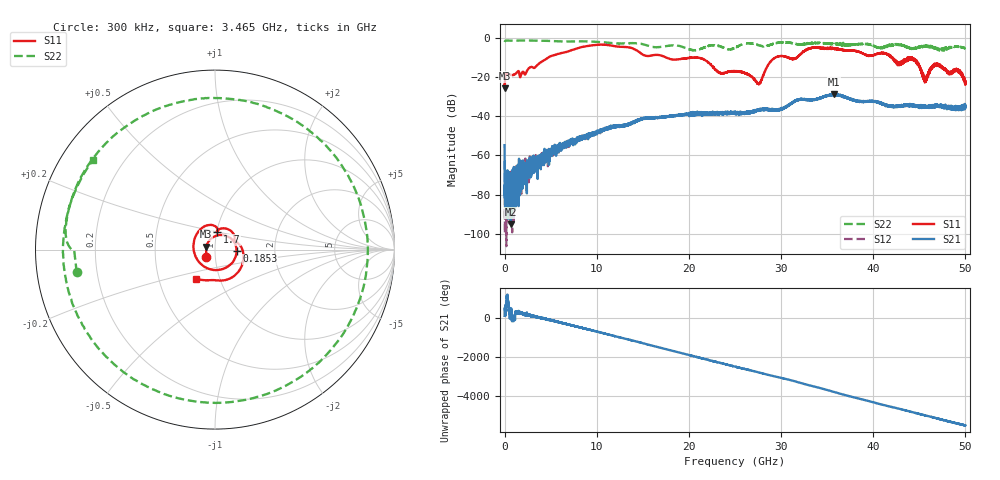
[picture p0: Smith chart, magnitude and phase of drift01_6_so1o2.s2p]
!Created with skrf (http://scikit-rf.org).
# Hz S RI R 50.0
!freq ReS11 ImS11 ReS21 ImS21 ReS12 ImS12 ReS22 ImS22
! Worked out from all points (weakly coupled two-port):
!   10001 points, 300 kHz to 50 GHz, reference 50 ohm
!   highest |S21| = -28.79 dB at 35.74 GHz (marker M1); lowest = -95.1 dB at 685.3 MHz (marker M2)
!   lowest |S11| = -25.8 dB at 5.3 MHz (marker M3), VSWR 1.11, Z = 45.3 + j1.42 ohm
!   |S11| at or under -10 dB: start of sweep to 4.764 GHz; 20.7 GHz to 29.41 GHz (8.718 GHz wide, 34.8 % of centre); 44.2 GHz to end of sweep (the widest 3 of 14)
!   |S22| runs from -6.6 to -1.4 dB; largest |S21 - S12| = 0.0034
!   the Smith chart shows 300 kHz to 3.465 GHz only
!   S11 on the Smith chart (normalised r, x): 300 kHz: 0.90, -0.07; 185.3 MHz: 1.27, -0.02; 1.7 GHz: 1.00, +0.20; 3.465 GHz: 0.77, -0.26
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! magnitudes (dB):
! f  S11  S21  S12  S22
! 300 kHz  -23.9  -54.8  -62.8  -2.1
! 5.3 MHz  -25.8  -69.9  -78.0  -2.1
! 185.3 MHz  -18.3  -76.2  -79.3  -1.4
! 685.3 MHz  -18.9  -95.1  -76.0  -1.5
! 1.7 GHz  -20.1  -67.1  -70.3  -1.4
! 3.465 GHz  -14.3  -65.2  -61.4  -1.5
! 8.335 GHz  -4.8  -50.8  -51.9  -1.8
! 16.67 GHz  -8.7  -40.6  -40.8  -4.8
! 21.16 GHz  -10.3  -38.6  -38.8  -5.9
! 25 GHz  -17.1  -38.4  -38.4  -5.1
! 27.59 GHz  -23.7  -36.7  -36.6  -3.9
! 29.27 GHz  -10.4  -36.6  -36.7  -2.9
! 31.45 GHz  -10.8  -32.4  -32.6  -3.0
! 33.34 GHz  -5.2  -31.5  -31.6  -2.7
! 35.74 GHz  -5.4  -28.8  -29.0  -2.8
! 41.67 GHz  -9.0  -34.8  -34.8  -4.4
! 42.75 GHz  -13.0  -35.0  -34.9  -3.4
! 44.42 GHz  -11.6  -34.7  -34.8  -5.3
! 45.63 GHz  -20.6  -34.9  -35.3  -4.3
! 46.93 GHz  -13.9  -34.7  -34.6  -5.4
! 49.2 GHz  -16.4  -35.7  -35.7  -4.4
! 50 GHz  -22.1  -34.9  -35.5  -5.4
